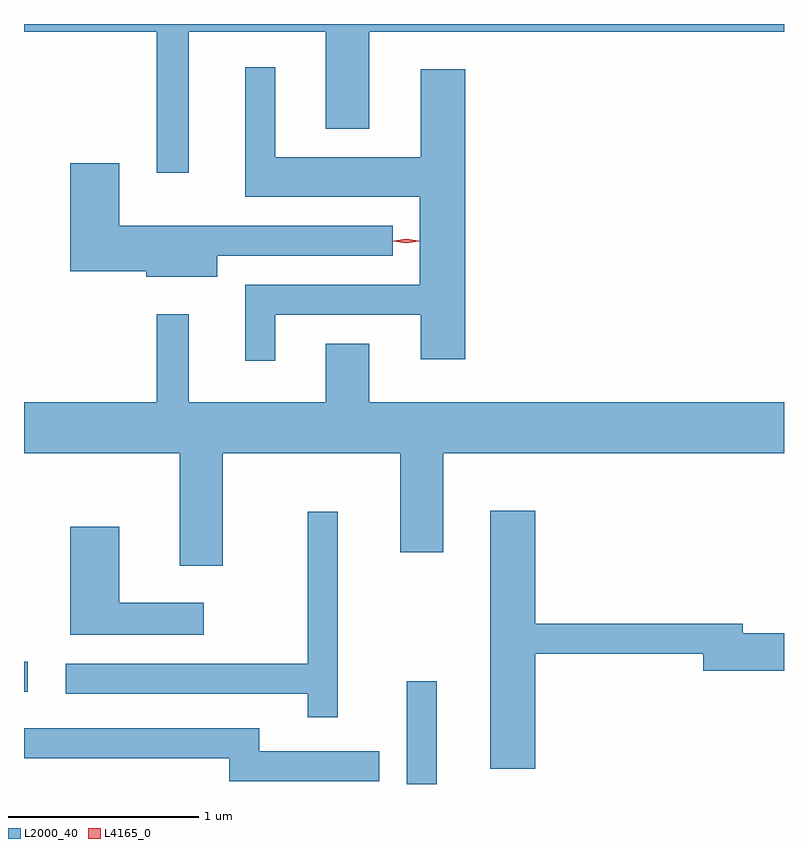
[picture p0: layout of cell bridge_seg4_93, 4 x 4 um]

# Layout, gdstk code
import gdstk
lib = gdstk.Library(unit=1e-6, precision=1e-09)
def R(c, l, rs):  # rectangles x0, y0, x1, y1
    for r in rs: c.add(gdstk.rectangle(r[:2], r[2:], *l))
def P(c, l, *ps):  # polygons
    for p in ps: c.add(gdstk.Polygon(p, *l))
L2000_40 = (2000, 40)
L4165_0 = (4165, 0)

bridge_seg4_93 = lib.new_cell('bridge_seg4_93')
R(bridge_seg4_93, L2000_40, [(990.336,1364.036,990.494,1364.578), (988.322,1364.521,988.343,1364.679)])
P(bridge_seg4_93, L2000_40, [(989.189,1367.996),(989.911,1367.996),(989.911,1367.486),(990.139,1367.486),(990.139,1367.996),(992.322,1367.996),(992.322,1368.036),(988.322,1368.036),(988.322,1367.996),(989.021,1367.996),(989.021,1367.253),(989.189,1367.253)],
  [(989.644,1366.506),(990.411,1366.506),(990.411,1366.271),(990.644,1366.271),(990.644,1367.799),(990.411,1367.799),(990.411,1367.334),(989.644,1367.334),(989.644,1367.808),(989.486,1367.808),(989.486,1367.126),(990.406,1367.126),(990.406,1366.664),(989.486,1366.664),(989.486,1366.263),(989.644,1366.263)],
  [(989.339,1366.816),(990.263,1366.816),(990.263,1366.974),(988.824,1366.974),(988.824,1367.304),(988.566,1367.304),(988.566,1366.736),(988.966,1366.736),(988.966,1366.706),(989.339,1366.706)],
  [(989.369,1365.776),(990.301,1365.776),(990.301,1365.256),(990.529,1365.256),(990.529,1365.776),(992.322,1365.776),(992.322,1366.044),(990.139,1366.044),(990.139,1366.354),(989.911,1366.354),(989.911,1366.044),(989.189,1366.044),(989.189,1366.508),(989.021,1366.508),(989.021,1366.044),(988.322,1366.044),(988.322,1365.776),(989.141,1365.776),(989.141,1365.186),(989.369,1365.186)],
  [(991.014,1364.721),(991.896,1364.721),(991.896,1364.631),(992.322,1364.631),(992.322,1364.829),(992.104,1364.829),(992.104,1364.879),(991.014,1364.879),(991.014,1365.474),(990.776,1365.474),(990.776,1364.116),(991.014,1364.116)],
  [(989.974,1365.468),(989.816,1365.468),(989.816,1364.669),(988.543,1364.669),(988.543,1364.511),(989.816,1364.511),(989.816,1364.388),(989.974,1364.388)],
  [(989.268,1364.989),(988.824,1364.989),(988.824,1365.389),(988.566,1365.389),(988.566,1364.821),(989.268,1364.821)],
  [(990.193,1364.209),(989.559,1364.209),(989.559,1364.329),(988.322,1364.329),(988.322,1364.171),(989.401,1364.171),(989.401,1364.051),(990.193,1364.051)])
P(bridge_seg4_93, L4165_0, [(990.333,1366.882),(990.264,1366.892),(990.263,1366.892),(990.264,1366.893),(990.333,1366.902),(990.402,1366.893),(990.403,1366.892),(990.402,1366.892)],
  [(990.333,1366.885),(990.267,1366.894),(990.267,1366.895),(990.267,1366.896),(990.333,1366.905),(990.399,1366.896),(990.399,1366.895),(990.399,1366.894)])

lib.write_gds('bridge_seg4_93.gds')
